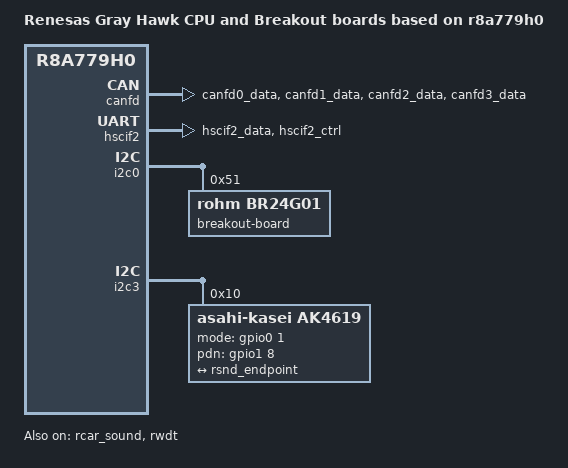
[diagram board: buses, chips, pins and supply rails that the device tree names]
// SPDX-License-Identifier: (GPL-2.0-only OR BSD-2-Clause)
/*
 * Device Tree Source for the Gray Hawk CPU and BreakOut boards
 *
 * Copyright (C) 2023 Renesas Electronics Corp.
 */

/dts-v1/;
#include "r8a779h0-gray-hawk-cpu.dtsi"
#include "r8a779h0-gray-hawk-csi-dsi.dtsi"
#include "r8a779h0-gray-hawk-ethernet.dtsi"

/ {
	model = "Renesas Gray Hawk CPU and Breakout boards based on r8a779h0";
	compatible = "renesas,gray-hawk-breakout", "renesas,gray-hawk-cpu", "renesas,r8a779h0";

	reserved-memory {
		#address-cells = <2>;
		#size-cells = <2>;
		ranges;

		vdsp0_region: linux,vdsp0_region@5d000000 {
			compatible = "shared-dma-pool";
			reusable;
			reg = <0x00000000 0x5d000000 0x0 0x00800000>;
		};

		vdsp1_region: linux,vdsp1_region@5d800000 {
			compatible = "shared-dma-pool";
			reusable;
			reg = <0x00000000 0x5d800000 0x0 0x00800000>;
		};

		vdsp2_region: linux,vdsp2_region@5e000000 {
			compatible = "shared-dma-pool";
			reusable;
			reg = <0x00000000 0x5e000000 0x0 0x00800000>;
		};

		vdsp3_region: linux,vdsp3_region@5e800000 {
			compatible = "shared-dma-pool";
			reusable;
			reg = <0x00000000 0x5e800000 0x0 0x00800000>;
		};

		pap_region: linux,pap_region@5f800000 {
			compatible = "shared-dma-pool";
			reusable;
			reg = <0x00000000 0x5f000000 0x0 0x00400000>;
		};

		/* global autoconfigured region for contiguous allocations */
		linux,cma@80000000 {
			compatible = "shared-dma-pool";
			reusable;
			reg = <0x00000000 0x80000000 0x0 0x23000000>;
			linux,cma-default;
		};
	};

	cmem {
		memory-region = <&vdsp0_region>, <&vdsp1_region>,
				<&vdsp2_region>, <&vdsp3_region>,
				<&pap_region>;
	};

	sound_card: sound {
		compatible = "audio-graph-card";

		label = "rcar-sound";
		dais = <&rsnd_port0>;	/* AK4619 Audio Codec */
	};
};

&canfd {
	pinctrl-0 = <&canfd0_pins>, <&canfd1_pins>,
		<&canfd2_pins>, <&canfd3_pins>;
		pinctrl-names = "default";
	status = "okay";

	channel0 {
		status = "okay";
	};

	channel1 {
		status = "okay";
	};

	channel2 {
		status = "okay";
	};

	channel3 {
		status = "okay";
	};
};

&hscif2 {
	pinctrl-0 = <&hscif2_pins>;
	pinctrl-names = "default";
	uart-has-rtscts;
	status = "okay";
};

&pfc {
	canfd0_pins: canfd0 {
		groups = "canfd0_data";
		function = "canfd0";
	};

	canfd1_pins: canfd1 {
		groups = "canfd1_data";
		function = "canfd1";
	};

	canfd2_pins: canfd2 {
		groups = "canfd2_data";
		function = "canfd2";
	};

	canfd3_pins: canfd3 {
		groups = "canfd3_data";
		function = "canfd3";
	};

	hscif2_pins: hscif2 {
		groups = "hscif2_data", "hscif2_ctrl";
		function = "hscif2";
	};

	scif_clk2_pins: scif_clk2 {
		groups = "scif_clk2";
		function = "scif_clk2";
	};
};

&i2c0 {
	eeprom@51 {
		compatible = "rohm,br24g01", "atmel,24c01";
		label = "breakout-board";
		reg = <0x51>;
		pagesize = <8>;
	};
};

&i2c3 {
	ak4619@10 {
		compatible = "asahi-kasei,ak4619";

		#sound-dai-cells = <0>;
		#address-cells = <1>;
		#size-cells = <0>;

		reg = <0x10>;

		clocks = <&rcar_sound>;
		clock-names = "mclk";
		mode-gpios = <&gpio0 1 GPIO_ACTIVE_HIGH>;
		pdn-gpios = <&gpio1 8 GPIO_ACTIVE_HIGH>;

		port@0 {
			ak4619_endpoint: endpoint {
				remote-endpoint = <&rsnd_endpoint>;
			};
		};
	};
};

&scif_clk2 {
	clock-frequency = <24000000>;
};

&audio_clkin {
	clock-frequency = <24576000>;
};

&rcar_sound {
	status = "okay";

	ports {
		rsnd_port0: port@0 {
			rsnd_endpoint: endpoint {
				remote-endpoint = <&ak4619_endpoint>;

				dai-format = "i2s";
				bitclock-master = <&rsnd_endpoint>;
				frame-master = <&rsnd_endpoint>;

				/* Please use exclusively to the 'capture' */
				playback = <&ssi0>;
			};
		};
	};
};

&rwdt {
	timeout-sec = <60>;
	status = "okay";
};
